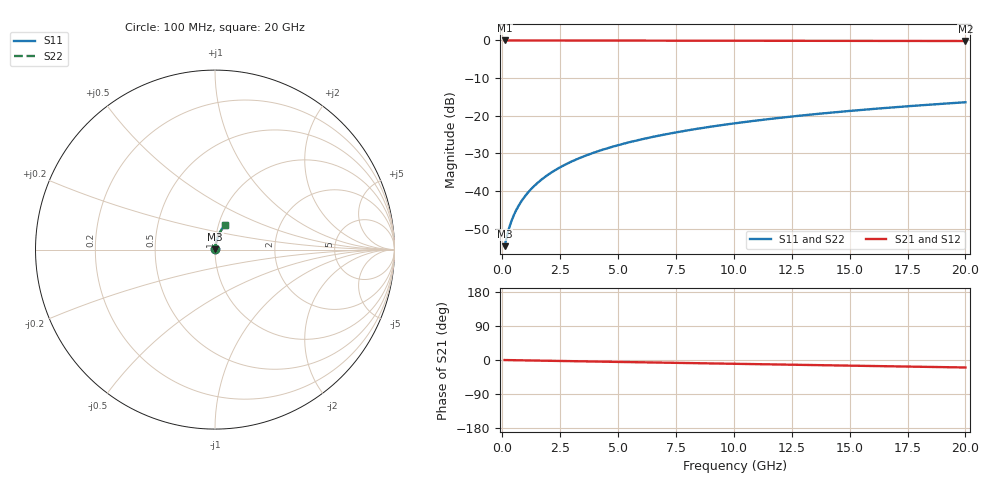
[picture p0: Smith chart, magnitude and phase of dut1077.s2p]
! Touchstone file exported from HFSS 2026.1.0
!  File:  C:/ffzhzh/LocalFiles/Ansys_Project_Files/temp_train_BSMRDL_1077_1783174351_51560.aedt
!  Generated:  10:13:43 PM Jul  4, 2026
!  Design:  BSMRDL
!  Project:  temp_train_BSMRDL_1077_1783174351_51560
! Variables:
!  h_bsmrdl = 3.48um
!  h_ox = 20um
!  h_rdl = 5um
!  h_sub = 80um
!  h_tmrdl = 5um
!  h_tsv = 80um
!  h_via = 3um
!  l_bsmrdl = 291.55um
!  l_sub = 691.55um
!  l_tmrdl = 200um
!  m_sub = 200um
!  pitch = 37.12um
!  r_tsv = 6um
!  s_tmrdl = 10um
!  w_bsmrdl = 22.08um
!  w_sub = 500um
!  w_tmrdl = 12um
!  x_tsv_center1 = 206um
!  x_tsv_center2 = 519.63um
!  x_tsv_center3 = 731.63um
!  x_tsv_center4 = 1045.26um
!  x_tsv_center5 = 1257.26um
!  x_tsv_center6 = 1570.89um
# GHz S MA R 50.000000
! Terminal data exported
! Port[1] = BSM_RDL1_1_T1
! Port[2] = BSM_RDL1_1_T2
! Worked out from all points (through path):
!   200 points, 100 MHz to 20 GHz, reference 50 ohm
!   highest |S21| = -0.01 dB at 100 MHz (marker M1); lowest = -0.2 dB at 20 GHz (marker M2)
!   group delay of S21, straight-line fit = 2.74 ps
!   lowest |S11| = -54.7 dB at 100 MHz (marker M3), VSWR 1.00, Z = 50.2 + j0.096 ohm
!   |S11| at or under -10 dB: start of sweep to end of sweep
!   |S22| runs from -54.7 to -16.4 dB; largest |S21 - S12| = 4e-15
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0.1  0.001842 31.3  0.9984 -0.1  0.9984 -0.1  0.001842 31.3
! Gamma 0 0 0 0
! Port Impedance 50 0 50 0
0.2  0.002505 48.3  0.9983 -0.2  0.9983 -0.2  0.002505 48.3
0.3  0.003256 57.0  0.9982 -0.3  0.9982 -0.3  0.003256 57.0
0.4  0.004018 62.3  0.9982 -0.4  0.9982 -0.4  0.004019 62.3
0.5  0.004779 65.9  0.9981 -0.5  0.9981 -0.5  0.004781 65.9
0.6  0.005542 68.6  0.998 -0.6  0.998 -0.6  0.005544 68.6
0.8  0.00708 72.4  0.9979 -0.8  0.9979 -0.8  0.007082 72.4
1.1  0.009424 75.9  0.9979 -1.1  0.9979 -1.1  0.009426 75.9
1.3  0.011 77.4  0.9978 -1.3  0.9978 -1.3  0.01101 77.4
1.6  0.01339 78.9  0.9977 -1.6  0.9977 -1.6  0.01339 78.8
2.1  0.0174 80.2  0.9976 -2.1  0.9976 -2.1  0.0174 80.2
2.7  0.02221 80.9  0.9973 -2.8  0.9973 -2.8  0.02221 80.9
3.5  0.02861 81.1  0.9969 -3.6  0.9969 -3.6  0.02861 81.1
4.2  0.03418 80.9  0.9966 -4.3  0.9966 -4.3  0.03418 80.9
5  0.04049 80.5  0.9961 -5.1  0.9961 -5.1  0.04049 80.5
5.9  0.04754 79.9  0.9955 -6.0  0.9955 -6.0  0.04754 79.9
6.8  0.05451 79.2  0.9948 -6.9  0.9948 -6.9  0.05451 79.2
8.3  0.06599 78.0  0.9936 -8.4  0.9936 -8.4  0.06599 78.0
10.1  0.07955 76.4  0.9921 -10.1  0.9921 -10.1  0.07955 76.4
13.4  0.1039 73.5  0.9889 -13.4  0.9889 -13.4  0.1039 73.5
16.7  0.1276 70.6  0.9855 -16.6  0.9855 -16.6  0.1276 70.6
20  0.1507 67.6  0.9817 -19.7  0.9817 -19.7  0.1507 67.6
